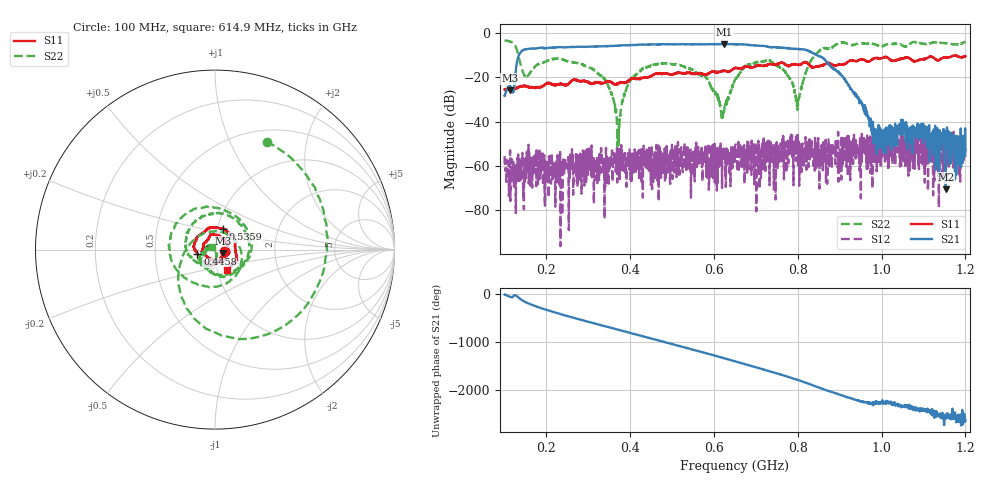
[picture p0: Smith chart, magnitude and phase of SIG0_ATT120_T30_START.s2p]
# Hz S RI R 50
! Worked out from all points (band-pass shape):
!   1601 points, 100 MHz to 1.2 GHz, reference 50 ohm
!   highest |S21| = -5.11 dB at 624.6 MHz (marker M1); lowest = -70.4 dB at 1.153 GHz (marker M2)
!   |S21| within 3 dB of the highest: 142.3 MHz to 824.7 MHz (682.4 MHz wide, 141 % of centre)
!   lowest |S11| = -25.9 dB at 112.4 MHz (marker M3), VSWR 1.11, Z = 54.8 - j2.27 ohm
!   |S11| at or under -10 dB: start of sweep to end of sweep
!   |S22| runs from -51.1 to -3.5 dB; largest |S21 - S12| = 0.56
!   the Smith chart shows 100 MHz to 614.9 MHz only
!   S11 on the Smith chart (normalised r, x): 100 MHz: 1.11, -0.01; 445.8 MHz: 0.82, -0.04; 535.9 MHz: 1.06, +0.25; 614.9 MHz: 1.12, -0.26
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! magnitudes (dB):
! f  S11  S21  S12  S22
! 100 MHz  -25.6  -28.5  -55.6  -3.5
! 112.4 MHz  -25.9  -24.2  -58.1  -4.0
! 144.7 MHz  -24.0  -7.8  -73.8  -18.2
! 283.6 MHz  -22.0  -6.4  -72.5  -14.1
! 342 MHz  -22.1  -6.0  -51.9  -21.8
! 370.9 MHz  -23.0  -5.8  -54.5  -49.7
! 397.7 MHz  -21.4  -5.7  -61.5  -21.8
! 445.8 MHz  -19.9  -5.4  -55.4  -15.1
! 467.1 MHz  -18.5  -5.2  -50.8  -14.1
! 535.9 MHz  -18.2  -5.3  -53.9  -15.8
! 582.6 MHz  -18.7  -5.3  -62.7  -20.4
! 614.9 MHz  -17.6  -5.2  -59.5  -33.2
! 624.6 MHz  -17.1  -5.1  -56.0  -34.7
! 650 MHz  -16.0  -5.2  -52.6  -21.2
! 731.8 MHz  -14.3  -6.5  -54.5  -12.6
! 799.9 MHz  -14.5  -7.4  -46.1  -30.6
! 833.6 MHz  -15.6  -8.9  -48.9  -11.9
! 908.5 MHz  -14.3  -20.1  -51.6  -4.3
! 986.2 MHz  -11.4  -47.1  -51.8  -5.4
! 1.017 GHz  -11.7  -45.8  -60.3  -5.0
! 1.153 GHz  -11.0  -70.4  -48.4  -4.8
! 1.2 GHz  -10.6  -53.1  -57.2  -4.1
